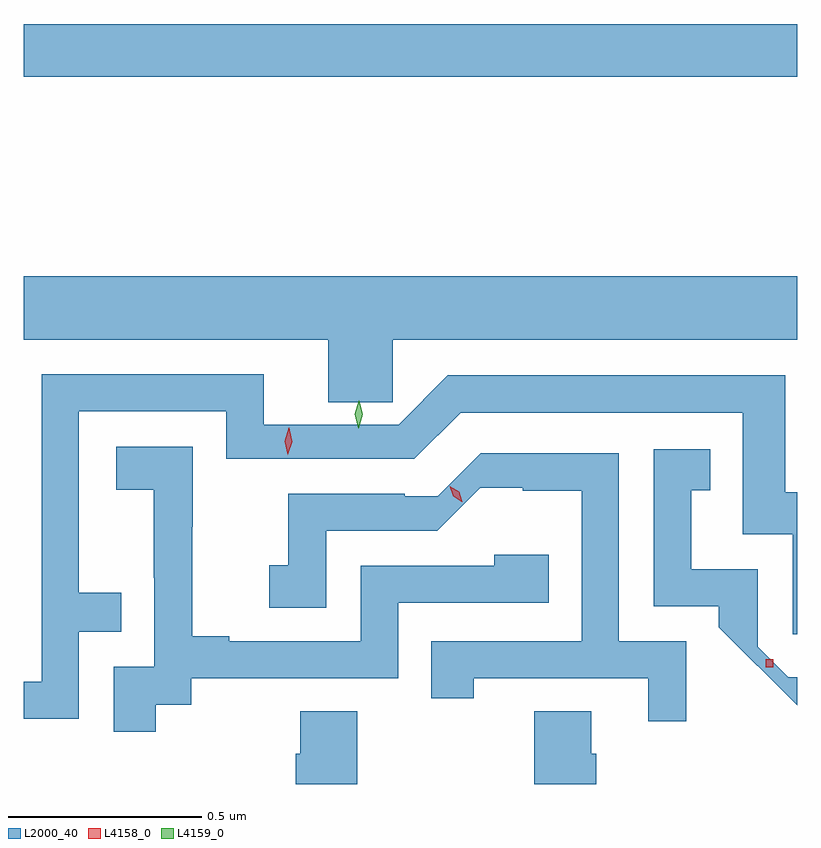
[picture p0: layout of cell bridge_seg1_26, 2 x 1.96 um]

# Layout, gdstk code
import gdstk
lib = gdstk.Library(unit=1e-6, precision=1e-09)
def R(c, l, rs):  # rectangles x0, y0, x1, y1
    for r in rs: c.add(gdstk.rectangle(r[:2], r[2:], *l))
def P(c, l, *ps):  # polygons
    for p in ps: c.add(gdstk.Polygon(p, *l))
L2000_40 = (2000, 40)
L4158_0 = (4158, 0)
L4159_0 = (4159, 0)

bridge_seg1_26 = lib.new_cell('bridge_seg1_26')
R(bridge_seg1_26, L2000_40, [(921.208,527.104,923.208,527.24)])
P(bridge_seg1_26, L2000_40, [(922.162,526.424),(923.208,526.424),(923.208,526.588),(921.208,526.588),(921.208,526.424),(921.995,526.424),(921.995,526.263),(922.162,526.263)],
  [(921.351,525.669),(921.461,525.669),(921.461,525.77),(921.351,525.77),(921.351,526.239),(921.732,526.239),(921.732,526.116),(922.218,526.116),(922.338,526.236),(923.067,526.236),(923.067,525.921),(923.196,525.921),(923.196,525.663),(923.208,525.663),(923.208,526.03),(923.176,526.03),(923.176,526.332),(922.304,526.332),(922.177,526.205),(921.829,526.205),(921.829,526.335),(921.255,526.335),(921.255,525.54),(921.208,525.54),(921.208,525.444),(921.351,525.444)],
  [(921.55,525.481),(921.642,525.481),(921.642,525.549),(922.176,525.549),(922.176,525.744),(922.565,525.744),(922.565,525.868),(922.425,525.868),(922.425,525.84),(922.08,525.84),(922.08,525.645),(921.739,525.645),(921.739,525.658),(921.644,525.658),(921.644,525.941),(921.645,525.941),(921.645,526.147),(921.447,526.147),(921.447,526.037),(921.545,526.037),(921.545,525.809),(921.546,525.809),(921.546,525.579),(921.441,525.579),(921.441,525.411),(921.55,525.411)],
  [(923.208,525.552),(923.184,525.552),(923.105,525.631),(923.105,525.831),(922.933,525.831),(922.933,526.035),(922.982,526.035),(922.982,526.141),(922.836,526.141),(922.836,525.735),(923.005,525.735),(923.005,525.681),(923.208,525.479)],
  [(922.92,525.645),(922.746,525.645),(922.746,526.131),(922.389,526.131),(922.278,526.02),(922.193,526.02),(922.193,526.026),(921.892,526.026),(921.892,525.841),(921.843,525.841),(921.843,525.732),(921.99,525.732),(921.99,525.93),(922.277,525.93),(922.388,526.041),(922.498,526.041),(922.498,526.034),(922.65,526.034),(922.65,525.645),(922.261,525.645),(922.261,525.498),(922.372,525.498),(922.372,525.549),(922.823,525.549),(922.823,525.438),(922.92,525.438)],
  [(922.688,525.354),(922.675,525.354),(922.675,525.464),(922.528,525.464),(922.528,525.276),(922.688,525.276)],
  [(922.071,525.464),(921.923,525.464),(921.923,525.354),(921.911,525.354),(921.911,525.276),(922.071,525.276)])
R(bridge_seg1_26, L4158_0, [(923.126,525.578,923.146,525.598)])
P(bridge_seg1_26, L4158_0, [(922.341,526.005),(922.318,526.019),(922.31,526.045),(922.31,526.045),(922.31,526.045),(922.334,526.031),(922.342,526.005),(922.342,526.005)],
  [(921.891,526.127),(921.891,526.127),(921.883,526.162),(921.894,526.196),(921.894,526.196),(921.895,526.196),(921.903,526.161),(921.891,526.127)])
P(bridge_seg1_26, L4159_0, [(922.073,526.195),(922.073,526.195),(922.064,526.231),(922.074,526.267),(922.075,526.267),(922.075,526.267),(922.084,526.231),(922.074,526.195)])

lib.write_gds('bridge_seg1_26.gds')
